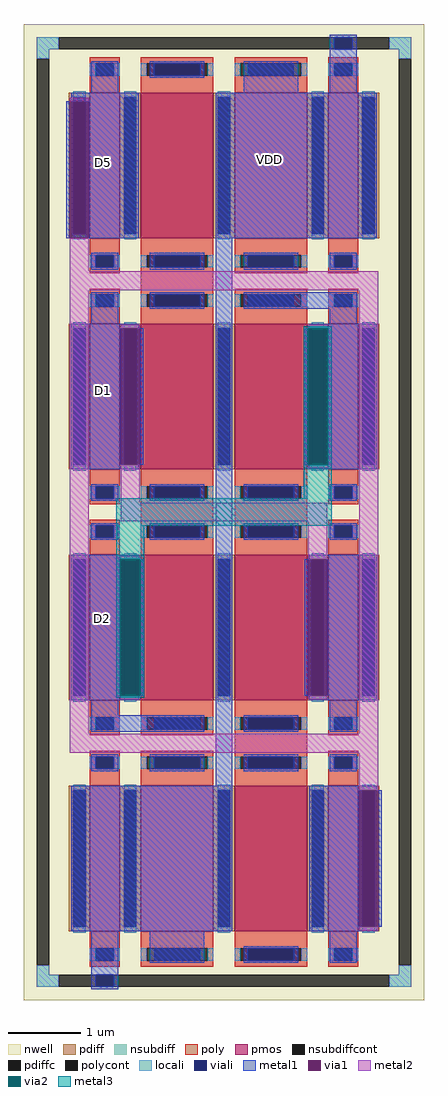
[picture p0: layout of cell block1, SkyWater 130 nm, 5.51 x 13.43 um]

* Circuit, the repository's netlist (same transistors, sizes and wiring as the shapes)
** sch_path: /home/mtfirmansyah/ic_projects/opamp/block1/lvs/block1.sch
.subckt block1 VDD D1 D2 D5
*.PININFO VDD:B D1:B D2:B D5:B
XM1 D1 D2 VDD VDD sky130_fd_pr__pfet_01v8 L=1 W=2 nf=1 m=2
XM2 D2 D2 VDD VDD sky130_fd_pr__pfet_01v8 L=1 W=2 nf=1 m=2
XM5 D5 D2 VDD VDD sky130_fd_pr__pfet_01v8 L=1 W=2 nf=1 m=2
XM3 VDD VDD VDD VDD sky130_fd_pr__pfet_01v8 L=1 W=2 nf=1 m=2
XM4 VDD VDD VDD VDD sky130_fd_pr__pfet_01v8 L=0.41 W=2 nf=1 m=2
XM6 D1 D1 D1 VDD sky130_fd_pr__pfet_01v8 L=0.41 W=2 nf=1 m=2
XM7 D2 D2 D2 VDD sky130_fd_pr__pfet_01v8 L=0.41 W=2 nf=1 m=2
XM8 D5 D5 D5 VDD sky130_fd_pr__pfet_01v8 L=0.41 W=2 nf=1 m=2
.ends
.end

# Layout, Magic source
magic
tech sky130A
magscale 1 2
<< nwell >>
rect -228 -89 874 2597
<< nsubdiff >>
rect -192 2527 -132 2561
rect 778 2527 838 2561
rect -192 2501 -158 2527
rect 804 2501 838 2527
rect -192 -19 -158 7
rect 804 -19 838 7
rect -192 -53 -132 -19
rect 778 -53 838 -19
<< nsubdiffcont >>
rect -132 2527 778 2561
rect -192 7 -158 2501
rect 804 7 838 2501
rect -132 -53 778 -19
<< poly >>
rect 94 640 294 2505
rect 352 3 552 1869
<< locali >>
rect -192 2527 -132 2561
rect 778 2527 838 2561
rect -192 2501 -158 2527
rect -192 -19 -158 7
rect 804 2501 838 2527
rect 804 -19 838 7
rect -192 -53 -132 -19
rect 778 -53 838 -19
<< viali >>
rect 626 2527 676 2561
rect -30 -53 20 -19
<< metal1 >>
rect 614 2561 688 2567
rect 614 2527 626 2561
rect 676 2527 688 2561
rect -42 2408 32 2495
rect 377 2408 527 2495
rect 614 2408 688 2527
rect -98 2384 88 2408
rect -111 2008 -101 2384
rect -49 2008 88 2384
rect 300 2008 744 2408
rect -42 1772 32 1859
rect -98 1760 88 1772
rect -98 1384 39 1760
rect 91 1384 101 1760
rect -98 1372 88 1384
rect -98 1124 88 1136
rect -98 748 39 1124
rect 91 748 101 1124
rect -98 736 88 748
rect -42 695 32 736
rect -42 649 269 695
rect 300 500 346 2008
rect 377 1813 688 1859
rect 614 1772 688 1813
rect 558 1760 744 1772
rect 545 1384 555 1760
rect 607 1384 744 1760
rect 558 1372 744 1384
rect 558 1124 744 1136
rect 545 748 555 1124
rect 607 748 744 1124
rect 558 736 744 748
rect 614 649 688 736
rect -98 100 346 500
rect 558 488 744 500
rect 558 112 695 488
rect 747 112 757 488
rect 558 100 744 112
rect -42 -19 32 100
rect 119 14 269 100
rect 614 13 688 100
rect -42 -53 -30 -19
rect 20 -53 32 -19
rect -42 -59 32 -53
<< via1 >>
rect -101 2008 -49 2384
rect 39 1384 91 1760
rect 39 748 91 1124
rect 555 1384 607 1760
rect 555 748 607 1124
rect 695 112 747 488
<< metal2 >>
rect -101 2384 -49 2394
rect -101 1916 -49 2008
rect -101 1864 747 1916
rect -101 644 -49 1864
rect 39 1760 91 1770
rect 39 1280 91 1384
rect 553 1760 609 1770
rect 553 1374 609 1384
rect 39 1228 607 1280
rect 37 1124 93 1134
rect 37 738 93 748
rect 555 1124 607 1228
rect 555 738 607 748
rect 695 644 747 1864
rect -101 592 747 644
rect 695 488 747 592
rect 695 102 747 112
<< via2 >>
rect 553 1384 555 1760
rect 555 1384 607 1760
rect 607 1384 609 1760
rect 37 748 39 1124
rect 39 748 91 1124
rect 91 748 93 1124
<< metal3 >>
rect 543 1760 619 1765
rect 543 1384 553 1760
rect 609 1384 619 1760
rect 543 1292 619 1384
rect 27 1216 619 1292
rect 27 1124 103 1216
rect 27 748 37 1124
rect 93 748 103 1124
rect 27 743 103 748
use sky130_fd_pr__pfet_01v8_EZH3Y7  sky130_fd_pr__pfet_01v8_EZH3Y7_0
transform 1 0 651 0 1 1254
box -135 -1254 135 1254
use sky130_fd_pr__pfet_01v8_EZH3Y7  sky130_fd_pr__pfet_01v8_EZH3Y7_1
transform 1 0 -5 0 1 1254
box -135 -1254 135 1254
use sky130_fd_pr__pfet_01v8_SD2LB7  sky130_fd_pr__pfet_01v8_SD2LB7_0
transform 1 0 323 0 1 1254
box -323 -1254 323 1254
<< labels >>
flabel metal1 448 2223 449 2224 0 FreeSans 160 0 0 0 VDD
port 0 nsew
flabel metal1 -10 2214 -9 2215 0 FreeSans 160 0 0 0 D5
port 1 nsew
flabel metal1 -8 1587 -8 1587 0 FreeSans 160 0 0 0 D1
port 2 nsew
flabel metal1 -12 960 -12 960 0 FreeSans 160 0 0 0 D2
port 3 nsew
<< end >>

# cell sky130_fd_pr__pfet_01v8_EZH3Y7: kit device sky130_fd_pr__pfet_01v8, w 2 l 0.41 m 4 nf 1 diffcov 100 polycov 100 guard 0 glc 1 grc 1 gtc 1 gbc 1 tbcov 100 rlcov 100 topc 1 botc 1 poverlap 0 doverlap 1 lmin 0.15 wmin 0.42 compatible {sky130_fd_pr__pfet_01v8 sky130_fd_pr__pfet_01v8_lvt sky130_fd_pr__pfet_01v8_hvt sky130_fd_pr__pfet_g5v0d10v5} full_metal 1 viasrc 100 viadrn 100 viagate 100 viagb 0 viagr 0 viagl 0 viagt 0

# cell sky130_fd_pr__pfet_01v8_SD2LB7: kit device sky130_fd_pr__pfet_01v8, w 2 l 1 m 4 nf 2 diffcov 100 polycov 100 guard 0 glc 1 grc 1 gtc 1 gbc 1 tbcov 100 rlcov 100 topc 1 botc 1 poverlap 0 doverlap 1 lmin 0.15 wmin 0.42 compatible {sky130_fd_pr__pfet_01v8 sky130_fd_pr__pfet_01v8_lvt sky130_fd_pr__pfet_01v8_hvt sky130_fd_pr__pfet_g5v0d10v5} full_metal 1 viasrc 100 viadrn 100 viagate 75 viagb 0 viagr 0 viagl 0 viagt 0
